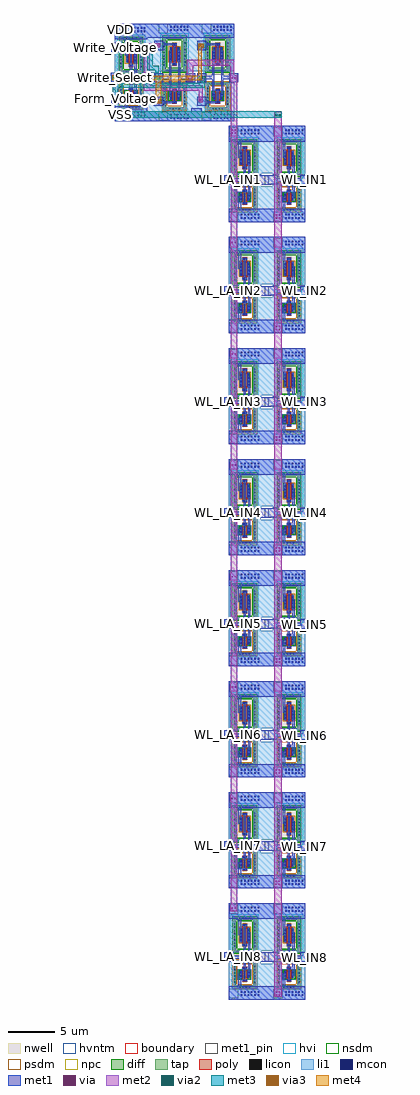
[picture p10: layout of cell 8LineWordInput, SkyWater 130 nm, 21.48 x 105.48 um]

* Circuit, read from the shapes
.subckt 8LineWordInput Form_Voltage VDD VSS WL_IN1 WL_IN2 WL_IN3 WL_IN4 WL_IN5 WL_IN6 WL_IN7 WL_IN8 WL_LA_IN1 WL_LA_IN2 WL_LA_IN3 WL_LA_IN4 WL_LA_IN5 WL_LA_IN6 WL_LA_IN7 WL_LA_IN8 Write_Select Write_Voltage
XM1 2-1MUX_0/TransmissionGate_1/SN Write_Select VSS VSS sky130_fd_pr__nfet_g5v0d10v5 w=0.75 l=0.5
XM2 2-1MUX_0/OUT Write_Select Write_Voltage VSS sky130_fd_pr__nfet_g5v0d10v5 w=0.75 l=0.5
XM3 2-1MUX_0/OUT 2-1MUX_0/TransmissionGate_1/SN Form_Voltage VSS sky130_fd_pr__nfet_g5v0d10v5 w=0.75 l=0.5
XM4 Buffer_1/Inverter_0/Vin WL_LA_IN8 VSS VSS sky130_fd_pr__nfet_g5v0d10v5 w=0.75 l=0.5
XM5 Buffer_2/Inverter_0/Vin WL_LA_IN7 VSS VSS sky130_fd_pr__nfet_g5v0d10v5 w=0.75 l=0.5
XM6 Buffer_3/Inverter_0/Vin WL_LA_IN6 VSS VSS sky130_fd_pr__nfet_g5v0d10v5 w=0.75 l=0.5
XM7 Buffer_4/Inverter_0/Vin WL_LA_IN5 VSS VSS sky130_fd_pr__nfet_g5v0d10v5 w=0.75 l=0.5
XM8 Buffer_5/Inverter_0/Vin WL_LA_IN4 VSS VSS sky130_fd_pr__nfet_g5v0d10v5 w=0.75 l=0.5
XM9 Buffer_6/Inverter_0/Vin WL_LA_IN3 VSS VSS sky130_fd_pr__nfet_g5v0d10v5 w=0.75 l=0.5
XM10 Buffer_7/Inverter_0/Vin WL_LA_IN2 VSS VSS sky130_fd_pr__nfet_g5v0d10v5 w=0.75 l=0.5
XM11 Buffer_8/Inverter_0/Vin WL_LA_IN1 VSS VSS sky130_fd_pr__nfet_g5v0d10v5 w=0.75 l=0.5
XM12 WL_IN8 Buffer_1/Inverter_0/Vin VSS VSS sky130_fd_pr__nfet_g5v0d10v5 w=0.75 l=0.5
XM13 WL_IN7 Buffer_2/Inverter_0/Vin VSS VSS sky130_fd_pr__nfet_g5v0d10v5 w=0.75 l=0.5
XM14 WL_IN6 Buffer_3/Inverter_0/Vin VSS VSS sky130_fd_pr__nfet_g5v0d10v5 w=0.75 l=0.5
XM15 WL_IN5 Buffer_4/Inverter_0/Vin VSS VSS sky130_fd_pr__nfet_g5v0d10v5 w=0.75 l=0.5
XM16 WL_IN4 Buffer_5/Inverter_0/Vin VSS VSS sky130_fd_pr__nfet_g5v0d10v5 w=0.75 l=0.5
XM17 WL_IN3 Buffer_6/Inverter_0/Vin VSS VSS sky130_fd_pr__nfet_g5v0d10v5 w=0.75 l=0.5
XM18 WL_IN2 Buffer_7/Inverter_0/Vin VSS VSS sky130_fd_pr__nfet_g5v0d10v5 w=0.75 l=0.5
XM19 WL_IN1 Buffer_8/Inverter_0/Vin VSS VSS sky130_fd_pr__nfet_g5v0d10v5 w=0.75 l=0.5
XM20 2-1MUX_0/TransmissionGate_1/SN Write_Select VDD VDD sky130_fd_pr__pfet_g5v0d10v5 w=1.5 l=0.5
XM21 2-1MUX_0/OUT 2-1MUX_0/TransmissionGate_1/SN Write_Voltage VDD sky130_fd_pr__pfet_g5v0d10v5 w=1.5 l=0.5
XM22 2-1MUX_0/OUT Write_Select Form_Voltage VDD sky130_fd_pr__pfet_g5v0d10v5 w=1.5 l=0.5
XM23 Buffer_1/Inverter_0/Vin WL_LA_IN8 2-1MUX_0/OUT 2-1MUX_0/OUT sky130_fd_pr__pfet_g5v0d10v5 w=1.5 l=0.5
XM24 Buffer_2/Inverter_0/Vin WL_LA_IN7 2-1MUX_0/OUT 2-1MUX_0/OUT sky130_fd_pr__pfet_g5v0d10v5 w=1.5 l=0.5
XM25 Buffer_3/Inverter_0/Vin WL_LA_IN6 2-1MUX_0/OUT 2-1MUX_0/OUT sky130_fd_pr__pfet_g5v0d10v5 w=1.5 l=0.5
XM26 Buffer_4/Inverter_0/Vin WL_LA_IN5 2-1MUX_0/OUT 2-1MUX_0/OUT sky130_fd_pr__pfet_g5v0d10v5 w=1.5 l=0.5
XM27 Buffer_5/Inverter_0/Vin WL_LA_IN4 2-1MUX_0/OUT 2-1MUX_0/OUT sky130_fd_pr__pfet_g5v0d10v5 w=1.5 l=0.5
XM28 Buffer_6/Inverter_0/Vin WL_LA_IN3 2-1MUX_0/OUT 2-1MUX_0/OUT sky130_fd_pr__pfet_g5v0d10v5 w=1.5 l=0.5
XM29 Buffer_7/Inverter_0/Vin WL_LA_IN2 2-1MUX_0/OUT 2-1MUX_0/OUT sky130_fd_pr__pfet_g5v0d10v5 w=1.5 l=0.5
XM30 Buffer_8/Inverter_0/Vin WL_LA_IN1 2-1MUX_0/OUT 2-1MUX_0/OUT sky130_fd_pr__pfet_g5v0d10v5 w=1.5 l=0.5
XM31 WL_IN8 Buffer_1/Inverter_0/Vin 2-1MUX_0/OUT 2-1MUX_0/OUT sky130_fd_pr__pfet_g5v0d10v5 w=1.5 l=0.5
XM32 WL_IN7 Buffer_2/Inverter_0/Vin 2-1MUX_0/OUT 2-1MUX_0/OUT sky130_fd_pr__pfet_g5v0d10v5 w=1.5 l=0.5
XM33 WL_IN6 Buffer_3/Inverter_0/Vin 2-1MUX_0/OUT 2-1MUX_0/OUT sky130_fd_pr__pfet_g5v0d10v5 w=1.5 l=0.5
XM34 WL_IN5 Buffer_4/Inverter_0/Vin 2-1MUX_0/OUT 2-1MUX_0/OUT sky130_fd_pr__pfet_g5v0d10v5 w=1.5 l=0.5
XM35 WL_IN4 Buffer_5/Inverter_0/Vin 2-1MUX_0/OUT 2-1MUX_0/OUT sky130_fd_pr__pfet_g5v0d10v5 w=1.5 l=0.5
XM36 WL_IN3 Buffer_6/Inverter_0/Vin 2-1MUX_0/OUT 2-1MUX_0/OUT sky130_fd_pr__pfet_g5v0d10v5 w=1.5 l=0.5
XM37 WL_IN2 Buffer_7/Inverter_0/Vin 2-1MUX_0/OUT 2-1MUX_0/OUT sky130_fd_pr__pfet_g5v0d10v5 w=1.5 l=0.5
XM38 WL_IN1 Buffer_8/Inverter_0/Vin 2-1MUX_0/OUT 2-1MUX_0/OUT sky130_fd_pr__pfet_g5v0d10v5 w=1.5 l=0.5
.ends

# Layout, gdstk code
import gdstk
lib = gdstk.Library(unit=1e-6, precision=1e-09)
def R(c, l, rs):  # rectangles x0, y0, x1, y1
    for r in rs: c.add(gdstk.rectangle(r[:2], r[2:], *l))
def A(c, l, x, y, w, h, nx, ny, dx, dy):  # array of equal rectangles
    R(c, l, [(x+i*dx, y+j*dy, x+i*dx+w, y+j*dy+h) for i in range(nx) for j in range(ny)])
nwell = (64, 20)
diff = (65, 20)
tap = (65, 44)
poly = (66, 20)
licon = (66, 44)
li1 = (67, 20)
mcon = (67, 44)
met1_pin = (68, 16)
met1 = (68, 20)
via = (68, 44)
met2 = (69, 20)
via2 = (69, 44)
met3 = (70, 20)
via3 = (70, 44)
met4 = (71, 20)
hvi = (75, 20)
nsdm = (93, 44)
psdm = (94, 20)
npc = (95, 20)
hvntm = (125, 20)
boundary = (235, 4)

sky130_fd_pr__pfet_g5v0d = lib.new_cell('sky130_fd_pr__pfet_g5v0d10v5_7EBZY6')
R(sky130_fd_pr__pfet_g5v0d, nwell, [(-1.54,-2.235,1.54,2.235)])
R(sky130_fd_pr__pfet_g5v0d, diff, [(-0.54,-0.75,0.54,0.75)])
R(sky130_fd_pr__pfet_g5v0d, tap, [(-1.21,-1.905,1.21,-1.615), (-1.21,-1.615,-0.92,1.615), (0.92,-1.615,1.21,1.615), (-1.21,1.615,1.21,1.905)])
R(sky130_fd_pr__pfet_g5v0d, poly, [(-0.25,-1.235,0.25,1.235)])
A(sky130_fd_pr__pfet_g5v0d, licon, -0.595, -1.845, 0.17, 0.17, 4, 2, 0.34, 3.52)
A(sky130_fd_pr__pfet_g5v0d, licon, -1.15, -1.275, 0.17, 0.17, 1, 8, 0, 0.34)
A(sky130_fd_pr__pfet_g5v0d, licon, 0.98, -1.275, 0.17, 0.17, 1, 8, 0, 0.34)
A(sky130_fd_pr__pfet_g5v0d, licon, -0.48, -0.595, 0.17, 0.17, 1, 4, 0, 0.34)
A(sky130_fd_pr__pfet_g5v0d, licon, 0.31, -0.595, 0.17, 0.17, 1, 4, 0, 0.34)
R(sky130_fd_pr__pfet_g5v0d, licon, [(-0.085,-1.155,0.085,-0.985), (-0.085,0.985,0.085,1.155)])
R(sky130_fd_pr__pfet_g5v0d, li1, [(-1.15,-1.845,1.15,-1.675), (-1.15,-1.675,-0.98,1.675), (0.98,-1.675,1.15,1.675), (-0.25,-1.155,0.25,-0.985), (-0.48,-0.77,-0.31,0.77), (0.31,-0.77,0.48,0.77), (-0.25,0.985,0.25,1.155), (-1.15,1.675,1.15,1.845)])
A(sky130_fd_pr__pfet_g5v0d, mcon, -0.48, -0.625, 0.17, 0.17, 1, 4, 0, 0.36)
A(sky130_fd_pr__pfet_g5v0d, mcon, 0.31, -0.625, 0.17, 0.17, 1, 4, 0, 0.36)
R(sky130_fd_pr__pfet_g5v0d, mcon, [(-0.085,-1.155,0.085,-0.985), (-0.085,0.985,0.085,1.155)])
R(sky130_fd_pr__pfet_g5v0d, met1, [(-0.23,-1.185,0.23,-0.955), (-0.51,-0.75,-0.28,0.75), (0.28,-0.75,0.51,0.75), (-0.23,0.955,0.23,1.185)])
R(sky130_fd_pr__pfet_g5v0d, hvi, [(-1.54,-2.235,1.54,2.235)])
R(sky130_fd_pr__pfet_g5v0d, nsdm, [(-1.335,-2.03,1.335,-1.49), (-1.335,-1.49,-0.795,1.49), (0.795,-1.49,1.335,1.49), (-1.335,1.49,1.335,2.03)])
R(sky130_fd_pr__pfet_g5v0d, psdm, [(-0.665,-0.875,0.665,0.875)])
R(sky130_fd_pr__pfet_g5v0d, npc, [(-0.185,-1.255,0.185,-0.885), (-0.185,0.885,0.185,1.255)])
R(sky130_fd_pr__pfet_g5v0d, boundary, [(-1.065,-1.76,1.065,1.76)])

sky130_fd_pr__nfet_g5v0d = lib.new_cell('sky130_fd_pr__nfet_g5v0d10v5_6XHARQ')
R(sky130_fd_pr__nfet_g5v0d, diff, [(-0.54,-0.375,0.54,0.375)])
R(sky130_fd_pr__nfet_g5v0d, tap, [(-1.21,-1.485,1.21,-1.195), (-1.21,-1.195,-0.92,1.195), (0.92,-1.195,1.21,1.195), (-1.21,1.195,1.21,1.485)])
R(sky130_fd_pr__nfet_g5v0d, poly, [(-0.25,-0.815,0.25,0.815)])
A(sky130_fd_pr__nfet_g5v0d, licon, -0.595, -1.425, 0.17, 0.17, 4, 2, 0.34, 2.68)
A(sky130_fd_pr__nfet_g5v0d, licon, -1.15, -0.935, 0.17, 0.17, 1, 6, 0, 0.34)
A(sky130_fd_pr__nfet_g5v0d, licon, 0.98, -0.935, 0.17, 0.17, 1, 6, 0, 0.34)
R(sky130_fd_pr__nfet_g5v0d, licon, [(-0.085,-0.735,0.085,-0.565), (-0.48,-0.255,-0.31,-0.085), (0.31,-0.255,0.48,-0.085), (-0.48,0.085,-0.31,0.255), (0.31,0.085,0.48,0.255), (-0.085,0.565,0.085,0.735)])
R(sky130_fd_pr__nfet_g5v0d, li1, [(-1.15,-1.425,1.15,-1.255), (-1.15,-1.255,-0.98,1.255), (0.98,-1.255,1.15,1.255), (-0.25,-0.735,0.25,-0.565), (-0.48,-0.395,-0.31,0.395), (0.31,-0.395,0.48,0.395), (-0.25,0.565,0.25,0.735), (-1.15,1.255,1.15,1.425)])
R(sky130_fd_pr__nfet_g5v0d, mcon, [(-0.085,-0.735,0.085,-0.565), (-0.48,-0.265,-0.31,-0.095), (0.31,-0.265,0.48,-0.095), (-0.48,0.095,-0.31,0.265), (0.31,0.095,0.48,0.265), (-0.085,0.565,0.085,0.735)])
R(sky130_fd_pr__nfet_g5v0d, met1, [(-0.23,-0.765,0.23,-0.535), (-0.51,-0.375,-0.28,0.375), (0.28,-0.375,0.51,0.375), (-0.23,0.535,0.23,0.765)])
R(sky130_fd_pr__nfet_g5v0d, hvi, [(-1.395,-1.67,1.395,1.67)])
R(sky130_fd_pr__nfet_g5v0d, nsdm, [(-0.665,-0.5,0.665,0.5)])
R(sky130_fd_pr__nfet_g5v0d, psdm, [(-1.335,-1.61,1.335,-1.07), (-1.335,-1.07,-0.795,1.07), (0.795,-1.07,1.335,1.07), (-1.335,1.07,1.335,1.61)])
R(sky130_fd_pr__nfet_g5v0d, npc, [(-0.185,-0.835,0.185,-0.465), (-0.185,0.465,0.185,0.835)])
R(sky130_fd_pr__nfet_g5v0d, hvntm, [(-0.725,-0.56,0.725,0.56)])
R(sky130_fd_pr__nfet_g5v0d, boundary, [(-1.065,-1.34,1.065,1.34)])

inverter = lib.new_cell('Inverter')
R(inverter, li1, [(4.95,-2.22,8.45,-0.93), (4.95,-0.93,5.73,1.91), (7.67,-0.93,8.45,1.91), (4.95,1.91,5.54,1.92), (7.84,1.91,8.45,1.92), (4.95,2.9,5.56,2.92), (7.84,2.9,8.46,2.92), (4.95,2.92,5.73,6.43), (7.67,2.92,8.46,6.43), (4.95,6.43,8.46,8.19)])
A(inverter, mcon, 6.275, -1.835, 0.17, 0.17, 6, 2, 0.36, 0.36)
A(inverter, mcon, 6.275, 7.275, 0.17, 0.17, 6, 2, 0.36, 0.36)
R(inverter, met1_pin, [(5,-2.1,6,-1.1), (7.9,1.86,8.9,2.86), (4.48,1.88,5.48,2.88), (5.01,7.07,6.01,8.07)])
R(inverter, met1, [(4.95,-2.22,8.45,-0.77), (6.02,-0.77,6.31,0.59), (6.6,-0.24,6.77,0.96), (7.06,0.35,7.31,2.16), (6.57,0.96,6.8,2.16), (7.9,1.86,8.9,2.16), (4.48,1.88,5.48,2.16), (4.48,2.16,6.8,2.51), (7.06,2.16,8.9,2.51), (4.48,2.51,5.48,2.88), (6.57,2.51,6.8,3.9), (7.06,2.51,7.31,5.02), (7.9,2.51,8.9,2.86), (6.59,3.9,6.79,5.89), (6.02,4.75,6.31,6.5), (7.19,5.02,7.31,5.03), (4.95,6.5,8.46,8.19)])
R(inverter, hvi, [(5.295,2.165,8.085,2.51)])
inverter.add(gdstk.Reference(sky130_fd_pr__pfet_g5v0d, (6.69,4.745)))
inverter.add(gdstk.Reference(sky130_fd_pr__nfet_g5v0d, (6.69,0.495)))
inverter.add(gdstk.Label('Vin', (4.98,2.38), layer=68, texttype=5))
inverter.add(gdstk.Label('VDD', (5.51,7.57), layer=68, texttype=5))
inverter.add(gdstk.Label('VSS', (5.5,-1.6), layer=68, texttype=5))
inverter.add(gdstk.Label('Vout', (8.4,2.36), layer=68, texttype=5))

transmissiongate = lib.new_cell('TransmissionGate')
R(transmissiongate, li1, [(1.07,2.1,4.66,3.51), (1.07,3.51,1.71,6.26), (3.79,3.51,4.66,6.26), (1.07,7.52,1.71,10.17), (4.01,7.52,4.65,11.06), (1.07,10.17,1.78,10.78), (1.07,10.78,1.71,11.06), (1.07,11.06,4.65,12.68)])
A(transmissiongate, mcon, 2.4, 2.405, 0.17, 0.17, 6, 2, 0.36, 0.36)
A(transmissiongate, mcon, 2.39, 11.885, 0.17, 0.17, 6, 2, 0.36, 0.36)
R(transmissiongate, met1_pin, [(1.15,2.16,2.15,3.16), (0.63,3.77,1.63,4.77), (0.64,6.33,1.64,7.33), (4.08,6.33,5.08,7.33), (0.64,9.81,1.64,10.81), (1.14,11.64,2.14,12.64)])
R(transmissiongate, met1, [(1.07,2.1,4.66,3.2), (0.63,3.77,1.63,4.07), (0.63,4.07,2.72,4.3), (0.63,4.3,1.63,4.77), (2.75,4.3,2.96,5.56), (2.27,4.79,2.48,6.67), (3.24,4.81,3.45,6.67), (0.64,6.33,1.64,6.67), (4.08,6.33,5.08,6.67), (0.64,6.67,2.48,7.01), (3.24,6.67,5.08,7.01), (0.64,7.01,1.64,7.33), (2.27,7.01,2.48,9.72), (3.24,7.01,3.45,9.74), (4.08,7.01,5.08,7.33), (2.75,8.2,2.97,10.32), (0.64,9.81,1.64,10.32), (0.64,10.32,3.01,10.55), (0.64,10.55,1.64,10.81), (1.07,11.13,4.65,12.68)])
R(transmissiongate, hvi, [(1.465,6.505,4.255,7.13)])
transmissiongate.add(gdstk.Reference(sky130_fd_pr__pfet_g5v0d, (2.86,9.365)))
transmissiongate.add(gdstk.Reference(sky130_fd_pr__nfet_g5v0d, (2.86,4.835)))
transmissiongate.add(gdstk.Label('Out', (4.58,6.83), layer=68, texttype=5))
transmissiongate.add(gdstk.Label('In', (1.14,6.83), layer=68, texttype=5))
transmissiongate.add(gdstk.Label('SP', (1.14,10.31), layer=68, texttype=5))
transmissiongate.add(gdstk.Label('VDD', (1.64,12.14), layer=68, texttype=5))
transmissiongate.add(gdstk.Label('VSS', (1.65,2.66), layer=68, texttype=5))
transmissiongate.add(gdstk.Label('SN', (1.13,4.27), layer=68, texttype=5))

c_2_1mux = lib.new_cell('2-1MUX')
R(c_2_1mux, li1, [(-4.21,3,0.44,3.16), (4.03,3,5.13,7.16), (-0.71,3.16,0.44,4.1), (-0.71,4.1,0.5,4.5), (-0.71,4.5,0.44,7.3), (-0.7,8.28,0.45,11.88), (4.02,8.42,5.17,13.58), (-0.925,11.88,0.47,12.015), (-0.7,12.015,0.45,13.57), (-4.21,13.57,0.45,13.58)])
R(c_2_1mux, met1_pin, [(-4.16,3.28,-3.16,4.28), (-4.62,4.93,-3.62,5.93), (8.12,7.22,9.12,8.22), (-4.68,7.26,-3.68,8.26), (-4.62,10.49,-3.62,11.49), (-4.15,12.45,-3.15,13.45)])
R(c_2_1mux, met1, [(-4.21,3,0.44,3.16), (4.03,3,5.19,4.41), (-0.71,3.16,0.44,4.1), (-4.16,3.28,-3.16,4.28), (-0.71,4.1,-0.7,4.41), (-4.62,4.93,-3.62,5.93), (0.14,4.98,0.83,5.38), (4.77,5.12,5.33,5.48), (8.12,7.22,9.12,8.22), (-4.68,7.26,-3.68,8.26), (3.51,7.37,4.31,7.88), (4.82,7.45,5.57,7.86), (-1.16,7.46,-0.42,7.95), (0.07,7.53,0.76,7.84), (-4.62,10.49,-3.62,11.49), (4.73,10.96,5.42,11.36), (0.16,11.05,0.72,11.42), (-0.7,12.015,0.47,13.57), (4,12.03,5.28,13.58), (-4.15,12.45,-3.15,13.45), (-4.21,13.57,0.47,13.58)])
R(c_2_1mux, via, [(0.25,5.105,0.4,5.255), (0.57,5.105,0.72,5.255), (4.975,5.225,5.125,5.375), (-4.38,5.34,-4.23,5.49), (-4.06,5.34,-3.91,5.49), (3.675,7.55,3.825,7.7), (3.995,7.55,4.145,7.7), (4.96,7.58,5.11,7.73), (5.28,7.58,5.43,7.73), (0.18,7.61,0.33,7.76), (0.5,7.61,0.65,7.76), (8.385,7.62,8.535,7.77), (8.705,7.62,8.855,7.77), (-1.025,7.63,-0.875,7.78), (-0.705,7.63,-0.555,7.78), (-4.395,7.645,-4.245,7.795), (-4.075,7.645,-3.925,7.795), (-4.4,10.89,-4.25,11.04), (-4.08,10.89,-3.93,11.04), (4.84,11.085,4.99,11.235), (5.16,11.085,5.31,11.235), (0.365,11.16,0.515,11.31)])
R(c_2_1mux, met2, [(0.19,4.93,0.78,5.43), (4.82,5.07,5.28,6.3), (-4.45,5.11,-3.84,5.72), (-1.11,6.3,5.28,6.92), (-1.11,6.92,-0.47,11.05), (3.56,7.32,4.26,9.03), (8.27,7.39,8.97,7.73), (4.87,7.4,5.52,7.91), (-4.5,7.42,-3.82,8.02), (0.12,7.48,0.71,7.89), (8.23,7.73,8.97,7.98), (8.23,7.98,8.69,9.03), (3.56,9.03,8.69,9.65), (-4.47,10.66,-3.86,11.27), (4.78,10.91,5.37,11.41), (0.21,11,0.67,11.05), (-1.11,11.05,0.67,11.42), (0.21,11.42,0.67,11.47)])
R(c_2_1mux, via2, [(0.385,5.08,0.585,5.28), (-4.245,5.315,-4.045,5.515), (5.095,7.555,5.295,7.755), (0.315,7.585,0.515,7.785), (-4.46,7.62,-4.26,7.82), (-4.06,7.62,-3.86,7.82), (-4.265,10.865,-4.065,11.065), (4.975,11.06,5.175,11.26)])
R(c_2_1mux, met3, [(0.14,4.955,0.83,5.405), (-4.5,5.135,-3.79,5.695), (-4.45,5.695,-3.84,6.62), (-4.45,6.62,5.49,7.11), (5.02,7.11,5.49,7.425), (4.82,7.425,5.57,7.885), (-4.55,7.445,-3.77,7.995), (0.07,7.505,0.76,7.865), (0.13,7.865,0.52,8.55), (-0.71,8.55,0.52,8.99), (-0.71,8.99,-0.11,10.71), (-4.52,10.685,-3.81,10.71), (-4.52,10.71,-0.11,11.22), (4.73,10.935,5.42,11.385), (-4.52,11.22,-3.81,11.245)])
R(c_2_1mux, via3, [(0.385,5.08,0.585,5.28), (-4.26,7.62,-4.06,7.82), (4.975,11.06,5.175,11.26)])
R(c_2_1mux, met4, [(0.185,4.975,0.785,5.13), (0.18,5.13,0.785,5.385), (0.18,5.385,0.77,7.47), (-4.505,7.465,-3.815,7.47), (-4.505,7.47,5.18,7.96), (-4.505,7.96,-3.815,7.975), (4.8,7.96,5.18,10.955), (4.775,10.955,5.375,11.365)])
c_2_1mux.add(gdstk.Reference(inverter, (-9.16,5.38)))
c_2_1mux.add(gdstk.Reference(transmissiongate, (4.04,0.9)))
c_2_1mux.add(gdstk.Reference(transmissiongate, (-0.63,0.9)))
c_2_1mux.add(gdstk.Label('A', (-4.12,10.99), layer=68, texttype=5))
c_2_1mux.add(gdstk.Label('B', (-4.12,5.43), layer=68, texttype=5))
c_2_1mux.add(gdstk.Label('S', (-4.18,7.76), layer=68, texttype=5))
c_2_1mux.add(gdstk.Label('VDD', (-3.65,12.95), layer=68, texttype=5))
c_2_1mux.add(gdstk.Label('VSS', (-3.66,3.78), layer=68, texttype=5))
c_2_1mux.add(gdstk.Label('OUT', (8.62,7.72), layer=68, texttype=5))

buffer = lib.new_cell('Buffer')
R(buffer, li1, [(13.26,6.8,14.54,10.67), (13.26,12.09,14.54,15.53), (13.27,15.53,14.54,17.21)])
R(buffer, met1_pin, [(9.79,6.94,10.79,7.94), (17.49,10.88,18.49,11.88), (9.29,10.9,10.29,11.9), (9.82,16.09,10.82,17.09)])
R(buffer, met1, [(13.26,6.8,14.54,8.25), (9.79,6.94,10.79,7.94), (13.65,10.88,14.36,11.9), (17.49,10.88,18.49,11.88), (9.29,10.9,10.29,11.9), (13.27,15.52,14.54,17.21), (9.82,16.09,10.82,17.09)])
buffer.add(gdstk.Reference(inverter, (9.59,9.02)))
buffer.add(gdstk.Reference(inverter, (4.81,9.02)))
buffer.add(gdstk.Label('VDD', (10.32,16.59), layer=68, texttype=5))
buffer.add(gdstk.Label('VSS', (10.29,7.44), layer=68, texttype=5))
buffer.add(gdstk.Label('Vin', (9.79,11.4), layer=68, texttype=5))
buffer.add(gdstk.Label('Vout', (17.99,11.38), layer=68, texttype=5))

c_8linewordinput = lib.new_cell('8LineWordInput')
A(c_8linewordinput, met1_pin, 7.2, 13.08, 1, 1, 1, 8, 0, 12)
A(c_8linewordinput, met1_pin, -1, 13.1, 1, 1, 1, 8, 0, 12)
R(c_8linewordinput, met1_pin, [(-12.76,104.18,-11.76,105.18), (-13.22,105.83,-12.22,106.83), (-13.28,108.16,-12.28,109.16), (-13.22,111.39,-12.22,112.39), (-12.75,113.35,-11.75,114.35)])
A(c_8linewordinput, met1, 7.2, 13.08, 1, 1, 1, 8, 0, 12)
A(c_8linewordinput, met1, -1, 13.1, 1, 1, 1, 8, 0, 12)
R(c_8linewordinput, met1, [(4.34,9.34,5.24,9.94), (-0.4,18.6,0.46,19.14), (4.29,21.32,5.19,21.92), (-0.42,30.46,0.44,31), (4.33,33.33,5.23,33.93), (-0.39,42.49,0.47,43.03), (4.36,45.33,5.26,45.93), (-0.4,54.42,0.46,54.96), (4.33,57.32,5.23,57.92), (-0.39,66.48,0.47,67.02), (4.35,69.34,5.25,69.94), (-0.4,78.51,0.46,79.05), (4.34,81.29,5.24,81.89), (-0.4,90.53,0.46,91.07), (4.35,93.33,5.25,93.93), (-0.37,102.44,0.43,103.15), (-12.76,104.18,-11.76,105.18), (-13.22,105.83,-12.22,106.83), (-13.28,108.16,-12.28,109.16), (-13.22,111.39,-12.22,112.39), (-12.75,113.35,-11.75,114.35)])
R(c_8linewordinput, via, [(4.555,9.405,4.705,9.555), (4.875,9.405,5.025,9.555), (4.555,9.725,4.705,9.875), (4.875,9.725,5.025,9.875), (-0.205,18.795,-0.055,18.945), (0.115,18.795,0.265,18.945), (4.505,21.385,4.655,21.535), (4.825,21.385,4.975,21.535), (4.505,21.705,4.655,21.855), (4.825,21.705,4.975,21.855), (-0.225,30.655,-0.075,30.805), (0.095,30.655,0.245,30.805), (4.545,33.395,4.695,33.545), (4.865,33.395,5.015,33.545), (4.545,33.715,4.695,33.865), (4.865,33.715,5.015,33.865), (-0.195,42.685,-0.045,42.835), (0.125,42.685,0.275,42.835), (4.575,45.395,4.725,45.545), (4.895,45.395,5.045,45.545), (4.575,45.715,4.725,45.865), (4.895,45.715,5.045,45.865), (-0.205,54.615,-0.055,54.765), (0.115,54.615,0.265,54.765), (4.545,57.385,4.695,57.535), (4.865,57.385,5.015,57.535), (4.545,57.705,4.695,57.855), (4.865,57.705,5.015,57.855), (-0.195,66.675,-0.045,66.825), (0.125,66.675,0.275,66.825), (4.565,69.405,4.715,69.555), (4.885,69.405,5.035,69.555), (4.565,69.725,4.715,69.875), (4.885,69.725,5.035,69.875), (-0.205,78.705,-0.055,78.855), (0.115,78.705,0.265,78.855), (4.555,81.355,4.705,81.505), (4.875,81.355,5.025,81.505), (4.555,81.675,4.705,81.825), (4.875,81.675,5.025,81.825), (-0.205,90.725,-0.055,90.875), (0.115,90.725,0.265,90.875), (4.565,93.395,4.715,93.545), (4.885,93.395,5.035,93.545), (4.565,93.715,4.715,93.865), (4.885,93.715,5.035,93.865), (-0.205,102.56,-0.055,102.71), (0.115,102.56,0.265,102.71), (-0.205,102.88,-0.055,103.03), (0.115,102.88,0.265,103.03), (-12.495,104.44,-12.345,104.59), (-12.175,104.44,-12.025,104.59), (-12.495,104.76,-12.345,104.91), (-12.175,104.76,-12.025,104.91)])
R(c_8linewordinput, met2, [(4.39,9.29,5.19,21.27), (-0.35,18.55,0.41,19.19), (-0.32,19.19,0.38,30.41), (4.34,21.27,5.19,21.97), (4.39,21.97,5.19,33.28), (-0.37,30.41,0.39,31.05), (-0.32,31.05,0.38,42.44), (4.38,33.28,5.19,33.98), (4.39,33.98,5.19,45.28), (-0.34,42.44,0.42,43.08), (-0.32,43.08,0.38,54.37), (4.39,45.28,5.21,45.98), (4.39,45.98,5.19,57.27), (-0.35,54.37,0.41,55.01), (-0.32,55.01,0.38,66.43), (4.38,57.27,5.19,57.97), (4.39,57.97,5.19,69.29), (-0.34,66.43,0.42,67.07), (-0.32,67.07,0.38,78.46), (4.39,69.29,5.2,69.99), (4.39,69.99,5.19,93.28), (-0.35,78.46,0.41,79.1), (-0.32,79.1,0.38,90.48), (-0.35,90.48,0.41,91.12), (-0.32,91.12,0.38,108.85), (4.39,93.28,5.2,93.68), (4.4,93.68,5.2,93.98), (4.4,93.98,5.19,104.94), (-12.65,104.27,-11.87,105.08)])
R(c_8linewordinput, via2, [(-12.56,104.375,-12.36,104.575), (-12.16,104.375,-11.96,104.575), (4.505,104.48,4.705,104.68), (4.905,104.48,5.105,104.68), (-12.56,104.775,-12.36,104.975), (-12.16,104.775,-11.96,104.975)])
R(c_8linewordinput, met3, [(4.38,104.275,5.23,104.32), (-12.7,104.295,-11.82,104.32), (-12.7,104.32,5.23,104.885), (-12.7,104.885,5.18,105.02), (-12.7,105.02,-11.82,105.055)])
c_8linewordinput.add(gdstk.Reference(c_2_1mux, (-8.6,100.9)))
c_8linewordinput.add(gdstk.Reference(buffer, (-10.29,2.2)))
c_8linewordinput.add(gdstk.Reference(buffer, (-10.29,14.2)))
c_8linewordinput.add(gdstk.Reference(buffer, (-10.29,26.2)))
c_8linewordinput.add(gdstk.Reference(buffer, (-10.29,38.2)))
c_8linewordinput.add(gdstk.Reference(buffer, (-10.29,50.2)))
c_8linewordinput.add(gdstk.Reference(buffer, (-10.29,62.2)))
c_8linewordinput.add(gdstk.Reference(buffer, (-10.29,74.2)))
c_8linewordinput.add(gdstk.Reference(buffer, (-10.29,86.2)))
c_8linewordinput.add(gdstk.Label('WL_LA_IN1', (-0.5,97.6), layer=68, texttype=5))
c_8linewordinput.add(gdstk.Label('WL_LA_IN2', (-0.5,85.6), layer=68, texttype=5))
c_8linewordinput.add(gdstk.Label('WL_LA_IN3', (-0.5,73.6), layer=68, texttype=5))
c_8linewordinput.add(gdstk.Label('WL_LA_IN4', (-0.5,61.6), layer=68, texttype=5))
c_8linewordinput.add(gdstk.Label('WL_LA_IN5', (-0.5,49.6), layer=68, texttype=5))
c_8linewordinput.add(gdstk.Label('WL_LA_IN6', (-0.5,37.6), layer=68, texttype=5))
c_8linewordinput.add(gdstk.Label('WL_LA_IN7', (-0.5,25.6), layer=68, texttype=5))
c_8linewordinput.add(gdstk.Label('WL_LA_IN8', (-0.5,13.6), layer=68, texttype=5))
c_8linewordinput.add(gdstk.Label('WL_IN1', (7.7,97.58), layer=68, texttype=5))
c_8linewordinput.add(gdstk.Label('WL_IN2', (7.7,85.58), layer=68, texttype=5))
c_8linewordinput.add(gdstk.Label('WL_IN3', (7.7,73.58), layer=68, texttype=5))
c_8linewordinput.add(gdstk.Label('WL_IN4', (7.7,61.58), layer=68, texttype=5))
c_8linewordinput.add(gdstk.Label('WL_IN5', (7.7,49.58), layer=68, texttype=5))
c_8linewordinput.add(gdstk.Label('WL_IN6', (7.7,37.58), layer=68, texttype=5))
c_8linewordinput.add(gdstk.Label('WL_IN7', (7.7,25.58), layer=68, texttype=5))
c_8linewordinput.add(gdstk.Label('WL_IN8', (7.7,13.58), layer=68, texttype=5))
c_8linewordinput.add(gdstk.Label('VDD', (-12.25,113.85), layer=68, texttype=5))
c_8linewordinput.add(gdstk.Label('VSS', (-12.26,104.68), layer=68, texttype=5))
c_8linewordinput.add(gdstk.Label('Write_Select', (-12.78,108.66), layer=68, texttype=5))
c_8linewordinput.add(gdstk.Label('Write_Voltage', (-12.72,111.89), layer=68, texttype=5))
c_8linewordinput.add(gdstk.Label('Form_Voltage', (-12.72,106.33), layer=68, texttype=5))

lib.write_gds('8LineWordInput.gds')
